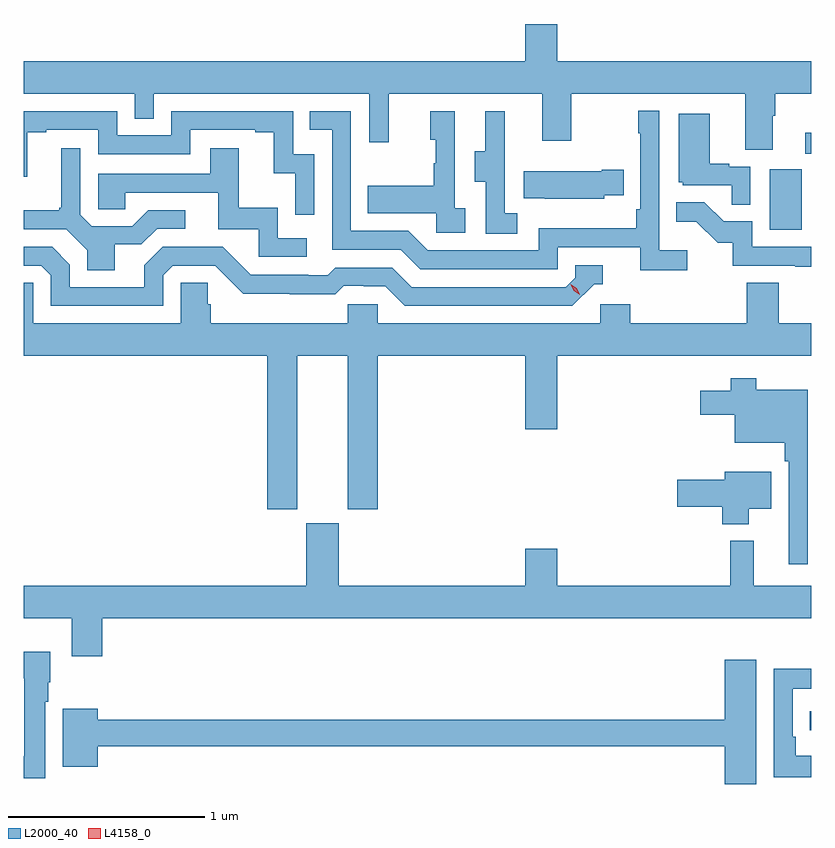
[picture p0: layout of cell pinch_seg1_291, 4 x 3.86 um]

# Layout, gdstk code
import gdstk
lib = gdstk.Library(unit=1e-6, precision=1e-09)
def R(c, l, rs):  # rectangles x0, y0, x1, y1
    for r in rs: c.add(gdstk.rectangle(r[:2], r[2:], *l))
def P(c, l, *ps):  # polygons
    for p in ps: c.add(gdstk.Polygon(p, *l))
L2000_40 = (2000, 40)
L4158_0 = (4158, 0)

pinch_seg1_291 = lib.new_cell('pinch_seg1_291')
R(pinch_seg1_291, L2000_40, [(945.675,544.503,945.682,544.599), (945.47,547.044,945.634,547.351), (945.651,547.431,945.682,547.537)])
P(pinch_seg1_291, L2000_40, [(945.487,547.624),(945.5,547.624),(945.5,547.736),(945.682,547.736),(945.682,547.9),(944.392,547.9),(944.392,548.089),(944.228,548.089),(944.228,547.9),(941.682,547.9),(941.682,547.736),(942.246,547.736),(942.246,547.609),(942.342,547.609),(942.342,547.736),(943.437,547.736),(943.437,547.488),(943.535,547.488),(943.535,547.736),(944.315,547.736),(944.315,547.497),(944.463,547.497),(944.463,547.736),(945.347,547.736),(945.347,547.45),(945.487,547.45)],
  [(945.052,546.94),(944.91,546.94),(944.91,547.648),(944.802,547.648),(944.802,547.535),(944.814,547.535),(944.814,547.147),(944.794,547.147),(944.794,547.051),(944.298,547.051),(944.298,546.939),(943.734,546.939),(943.635,547.038),(943.344,547.038),(943.344,547.647),(943.135,547.647),(943.135,547.551),(943.248,547.551),(943.248,546.942),(943.598,546.942),(943.697,546.843),(944.394,546.843),(944.394,546.954),(944.813,546.954),(944.813,546.838),(945.052,546.838)],
  [(943.158,547.428),(943.05,547.428),(943.05,547.647),(942.432,547.647),(942.432,547.524),(942.156,547.524),(942.156,547.647),(941.682,547.647),(941.682,547.313),(941.701,547.313),(941.701,547.539),(941.797,547.539),(941.797,547.551),(942.06,547.551),(942.06,547.428),(942.528,547.428),(942.528,547.551),(942.857,547.551),(942.857,547.539),(942.953,547.539),(942.953,547.331),(943.062,547.331),(943.062,547.119),(943.158,547.119)],
  [(943.924,547.154),(943.872,547.154),(943.872,547.645),(943.748,547.645),(943.748,547.5),(943.774,547.5),(943.774,547.382),(943.764,547.382),(943.764,547.267),(943.429,547.267),(943.429,547.127),(943.776,547.127),(943.776,547.029),(943.924,547.029)],
  [(944.188,547.127),(944.124,547.127),(944.124,547.431),(944.126,547.431),(944.126,547.645),(944.027,547.645),(944.027,547.443),(943.973,547.443),(943.973,547.288),(944.028,547.288),(944.028,547.024),(944.188,547.024)],
  [(945.372,547.365),(945.266,547.365),(945.266,547.378),(945.166,547.378),(945.166,547.633),(945.008,547.633),(945.008,547.284),(945.03,547.284),(945.03,547.269),(945.277,547.269),(945.277,547.171),(945.372,547.171)],
  [(943.12,547.002),(942.972,547.002),(942.972,547.156),(942.773,547.156),(942.773,547.459),(942.629,547.459),(942.629,547.329),(942.06,547.329),(942.06,547.149),(942.197,547.149),(942.197,547.233),(942.671,547.233),(942.671,547.047),(942.876,547.047),(942.876,546.906),(943.12,546.906)],
  [(942.145,546.97),(942.28,546.97),(942.36,547.05),(942.502,547.05),(942.502,547.143),(942.314,547.143),(942.233,547.062),(942.027,547.062),(941.97,547.119),(941.97,547.459),(941.873,547.459),(941.873,547.156),(941.862,547.156),(941.862,547.144),(941.682,547.144),(941.682,547.047),(941.898,547.047),(942.005,546.94),(942.005,546.838),(942.145,546.838)],
  [(944.631,547.22),(944.729,547.22),(944.729,547.35),(944.618,547.35),(944.618,547.342),(944.221,547.342),(944.221,547.205),(944.329,547.205),(944.329,547.202),(944.631,547.202)],
  [(945.682,546.957),(945.381,546.957),(945.381,547.086),(945.237,547.086),(945.139,547.184),(944.995,547.184),(944.995,547.085),(945.099,547.085),(945.206,546.978),(945.283,546.978),(945.283,546.861),(945.601,546.861),(945.601,546.856),(945.682,546.856)],
  [(942.39,546.813),(942.438,546.861),(942.654,546.861),(942.796,546.719),(943.032,546.719),(943.032,546.717),(943.265,546.717),(943.307,546.759),(943.41,546.759),(943.41,546.756),(943.517,546.756),(943.616,546.657),(944.469,546.657),(944.58,546.768),(944.623,546.768),(944.623,546.864),(944.484,546.864),(944.484,546.801),(944.436,546.753),(943.653,546.753),(943.554,546.852),(943.265,546.852),(943.226,546.813),(943.127,546.813),(943.127,546.816),(942.834,546.816),(942.693,546.957),(942.387,546.957),(942.293,546.863),(942.293,546.753),(941.916,546.753),(941.916,546.867),(941.826,546.957),(941.682,546.957),(941.682,546.861),(941.772,546.861),(941.82,546.813),(941.82,546.657),(942.39,546.657)],
  [(943.072,546.404),(943.328,546.404),(943.328,545.625),(943.481,545.625),(943.481,546.404),(944.228,546.404),(944.228,546.03),(944.392,546.03),(944.392,546.404),(945.682,546.404),(945.682,546.568),(945.518,546.568),(945.518,546.776),(945.353,546.776),(945.353,546.568),(944.762,546.568),(944.762,546.666),(944.61,546.666),(944.61,546.568),(943.479,546.568),(943.479,546.666),(943.329,546.666),(943.329,546.568),(942.632,546.568),(942.632,546.666),(942.617,546.666),(942.617,546.776),(942.48,546.776),(942.48,546.568),(941.73,546.568),(941.73,546.776),(941.682,546.776),(941.682,546.404),(942.92,546.404),(942.92,545.625),(943.072,545.625)],
  [(945.664,546.232),(945.403,546.232),(945.403,546.289),(945.274,546.289),(945.274,546.226),(945.117,546.226),(945.117,546.104),(945.293,546.104),(945.293,545.963),(945.547,545.963),(945.547,545.867),(945.567,545.867),(945.567,545.346),(945.664,545.346)],
  [(945.364,545.627),(945.478,545.627),(945.478,545.815),(945.242,545.815),(945.242,545.775),(945,545.775),(945,545.638),(945.23,545.638),(945.23,545.549),(945.364,545.549)],
  [(945.682,545.236),(945.389,545.236),(945.389,545.464),(945.271,545.464),(945.271,545.236),(944.392,545.236),(944.392,545.425),(944.228,545.425),(944.228,545.236),(943.282,545.236),(943.282,545.553),(943.118,545.553),(943.118,545.236),(941.682,545.236),(941.682,545.072),(941.927,545.072),(941.927,544.878),(942.08,544.878),(942.08,545.072),(945.682,545.072)],
  [(941.791,544.646),(941.806,544.646),(941.806,544.746),(941.818,544.746),(941.818,544.9),(941.682,544.9),(941.682,544.766),(941.684,544.766),(941.684,544.369),(941.682,544.369),(941.682,544.257),(941.791,544.257)],
  [(945.403,544.861),(945.242,544.861),(945.242,544.556),(942.058,544.556),(942.058,544.612),(941.879,544.612),(941.879,544.316),(942.058,544.316),(942.058,544.42),(945.242,544.42),(945.242,544.229),(945.403,544.229)],
  [(945.682,544.372),(945.602,544.372),(945.602,544.468),(945.588,544.468),(945.588,544.713),(945.682,544.713),(945.682,544.814),(945.492,544.814),(945.492,544.263),(945.682,544.263)])
P(pinch_seg1_291, L4158_0, [(944.506,546.714),(944.475,546.734),(944.46,546.767),(944.46,546.767),(944.46,546.767),(944.49,546.747),(944.506,546.714),(944.506,546.714)])

lib.write_gds('pinch_seg1_291.gds')
